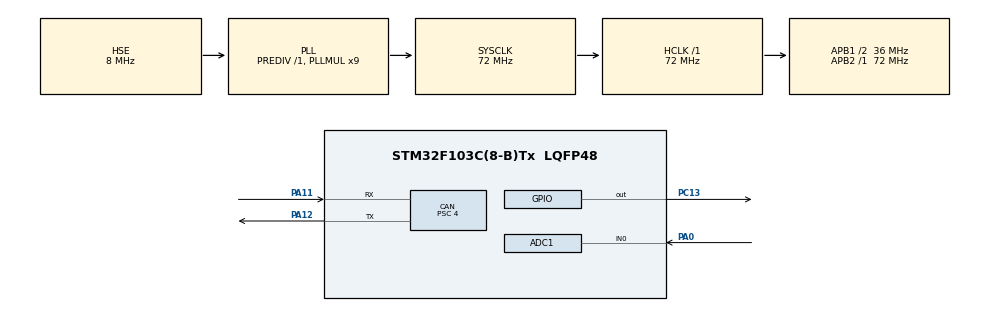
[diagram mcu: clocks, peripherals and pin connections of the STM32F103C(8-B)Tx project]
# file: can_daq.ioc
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Mcu.Family=STM32F1
RCC.PLLSourceVirtual=RCC_PLLSOURCE_HSE
NVIC.CAN1_RX1_IRQn=true\:0\:0\:false\:false\:true\:true\:true
ADC1.Rank-0\#ChannelRegularConversion=1
PD1-OSC_OUT.Mode=HSE-External-Oscillator
ADC1.ContinuousConvMode=ENABLE
PC13-TAMPER-RTC.Signal=GPIO_Output
PA11.Mode=Master
PD0-OSC_IN.Signal=RCC_OSC_IN
RCC.APB1CLKDivider=RCC_HCLK_DIV2
VP_SYS_VS_ND.Mode=No_Debug
CAN.CalculateTimeBit=2000
RCC.SYSCLKSource=RCC_SYSCLKSOURCE_PLLCLK
ProjectManager.StackSize=0x400
PA0-WKUP.Signal=ADCx_IN0
PD1-OSC_OUT.Signal=RCC_OSC_OUT
RCC.ADCPresc=RCC_ADCPCLK2_DIV6
PA12.Signal=CAN_TX
CAN.BS2=CAN_BS2_2TQ
CAN.Prescaler=4
CAN.BS1=CAN_BS1_15TQ
ProjectManager.TargetToolchain=MDK-ARM V5.27
RCC.HCLKFreq_Value=72000000
RCC.APB2TimFreq_Value=72000000
TIM3.Period=5
RCC.USBFreq_Value=72000000
RCC.AHBFreq_Value=72000000
PD0-OSC_IN.Mode=HSE-External-Oscillator
ADC1.Channel-0\#ChannelRegularConversion=ADC_CHANNEL_0
board=custom
RCC.PLLMUL=RCC_PLL_MUL9
RCC.APB2Freq_Value=72000000
TIM3.Prescaler=16000
SH.ADCx_IN0.0=ADC1_IN0,IN0
Mcu.Name=STM32F103C(8-B)Tx
CAN.CalculateTimeQuantum=111.11111111111111
ADC1.SamplingTime-0\#ChannelRegularConversion=ADC_SAMPLETIME_1CYCLE_5
ADC1.ExternalTrigConv=ADC_EXTERNALTRIGCONV_T3_TRGO
RCC.SYSCLKFreq_VALUE=72000000
Mcu.Package=LQFP48
ADC1.master=1
PA12.Mode=Master
PA11.Signal=CAN_RX
ProjectManager.HeapSize=0x200
NVIC.PriorityGroup=NVIC_PRIORITYGROUP_4
ADC1.NbrOfConversionFlag=1
RCC.APB1TimFreq_Value=72000000
TIM3.TIM_MasterOutputTrigger=TIM_TRGO_UPDATE
RCC.APB1Freq_Value=36000000
VP_TIM3_VS_ClockSourceINT.Mode=Internal

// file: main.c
/* USER CODE BEGIN Header */
/**
  ******************************************************************************
  * @file           : main.c
  * @brief          : Main program body
  ******************************************************************************
  * @attention
  *
  * <h2><center>&copy; Copyright (c) 2020 STMicroelectronics.
  * All rights reserved.</center></h2>
  *
  * This software component is licensed by ST under BSD 3-Clause license,
  * the "License"; You may not use this file except in compliance with the
  * License. You may obtain a copy of the License at:
  *                        opensource.org/licenses/BSD-3-Clause
  *
  ******************************************************************************
  */
/* USER CODE END Header */

#include "main.h"

ADC_HandleTypeDef hadc1;

CAN_HandleTypeDef hcan;

TIM_HandleTypeDef htim3;

/* USER CODE BEGIN PV */
CAN_FilterTypeDef sFilterConfig;
CAN_RxHeaderTypeDef RxHeader;
CAN_TxHeaderTypeDef TxHeader;
uint32_t pTxMailbox;
uint8_t CAN_TxDATA[] = {0};
uint8_t CAN_RxDATA[8];
uint32_t Timeout = 5;
/* USER CODE END PV */

void SystemClock_Config(void);
static void MX_GPIO_Init(void);
static void MX_ADC1_Init(void);
static void MX_CAN_Init(void);
static void MX_TIM3_Init(void);
/* USER CODE BEGIN PFP */
void CAN_ConfigFilter(void);
/* USER CODE END PFP */

int main(void)
{

  /* MCU Configuration--------------------------------------------------------*/

  /* Reset of all peripherals, Initializes the Flash interface and the Systick. */
  HAL_Init();

  /* Configure the system clock */
  SystemClock_Config();

  /* Initialize all configured peripherals */
  MX_GPIO_Init();
  MX_ADC1_Init();
  MX_CAN_Init();
  MX_TIM3_Init();
  /* USER CODE BEGIN 2 */
  HAL_CAN_Start(&hcan);
  HAL_ADC_Start(&hadc1);
  HAL_TIM_Base_Start(&htim3);
  /* USER CODE END 2 */

  /* Infinite loop */
  /* USER CODE BEGIN WHILE */
  while (1)
  {
	  //ADC
	  if(HAL_ADC_PollForConversion(hadc1, Timeout) != HAL_OK){
		  Error_Handler();
	  }
	  CAN_TxDATA[0] = (HAL_ADC_GetValue(&hadc1))/16;

	  //CAN
	  if(HAL_CAN_ActivateNotification(&hcan, CAN_IT_RX_FIFO1_MSG_PENDING) != HAL_OK){
		  Error_Handler();
	  }
	  if(HAL_CAN_GetTxMailboxesFreeLevel(&hcan) > 0){
		  HAL_GPIO_TogglePin(GPIOC, GPIO_PIN_13);
		  HAL_CAN_AddTxMessage(&hcan, &TxHeader, CAN_TxDATA, &pTxMailbox);
	  }
	  while(HAL_CAN_IsTxMessagePending(&hcan, pTxMailbox));
	  if(HAL_CAN_DeactivateNotification(&hcan, CAN_IT_RX_FIFO1_MSG_PENDING) != HAL_OK){
		  Error_Handler();
	  }
    /* USER CODE END WHILE */

  }
}

void SystemClock_Config(void)
{
  RCC_OscInitTypeDef RCC_OscInitStruct = {0};
  RCC_ClkInitTypeDef RCC_ClkInitStruct = {0};
  RCC_PeriphCLKInitTypeDef PeriphClkInit = {0};

  /** Initializes the CPU, AHB and APB busses clocks
  */
  RCC_OscInitStruct.OscillatorType = RCC_OSCILLATORTYPE_HSE;
  RCC_OscInitStruct.HSEState = RCC_HSE_ON;
  RCC_OscInitStruct.HSEPredivValue = RCC_HSE_PREDIV_DIV1;
  RCC_OscInitStruct.HSIState = RCC_HSI_ON;
  RCC_OscInitStruct.PLL.PLLState = RCC_PLL_ON;
  RCC_OscInitStruct.PLL.PLLSource = RCC_PLLSOURCE_HSE;
  RCC_OscInitStruct.PLL.PLLMUL = RCC_PLL_MUL9;
  if (HAL_RCC_OscConfig(&RCC_OscInitStruct) != HAL_OK)
  {
    Error_Handler();
  }
  /** Initializes the CPU, AHB and APB busses clocks
  */
  RCC_ClkInitStruct.ClockType = RCC_CLOCKTYPE_HCLK|RCC_CLOCKTYPE_SYSCLK
                              |RCC_CLOCKTYPE_PCLK1|RCC_CLOCKTYPE_PCLK2;
  RCC_ClkInitStruct.SYSCLKSource = RCC_SYSCLKSOURCE_PLLCLK;
  RCC_ClkInitStruct.AHBCLKDivider = RCC_SYSCLK_DIV1;
  RCC_ClkInitStruct.APB1CLKDivider = RCC_HCLK_DIV2;
  RCC_ClkInitStruct.APB2CLKDivider = RCC_HCLK_DIV1;

  if (HAL_RCC_ClockConfig(&RCC_ClkInitStruct, FLASH_LATENCY_2) != HAL_OK)
  {
    Error_Handler();
  }
  PeriphClkInit.PeriphClockSelection = RCC_PERIPHCLK_ADC;
  PeriphClkInit.AdcClockSelection = RCC_ADCPCLK2_DIV6;
  if (HAL_RCCEx_PeriphCLKConfig(&PeriphClkInit) != HAL_OK)
  {
    Error_Handler();
  }
}

static void MX_ADC1_Init(void)
{

  ADC_ChannelConfTypeDef sConfig = {0};

  /** Common config
  */
  hadc1.Instance = ADC1;
  hadc1.Init.ScanConvMode = ADC_SCAN_DISABLE;
  hadc1.Init.ContinuousConvMode = ENABLE;
  hadc1.Init.DiscontinuousConvMode = DISABLE;
  hadc1.Init.ExternalTrigConv = ADC_EXTERNALTRIGCONV_T3_TRGO;
  hadc1.Init.DataAlign = ADC_DATAALIGN_RIGHT;
  hadc1.Init.NbrOfConversion = 1;
  if (HAL_ADC_Init(&hadc1) != HAL_OK)
  {
    Error_Handler();
  }
  /** Configure Regular Channel
  */
  sConfig.Channel = ADC_CHANNEL_0;
  sConfig.Rank = ADC_REGULAR_RANK_1;
  sConfig.SamplingTime = ADC_SAMPLETIME_1CYCLE_5;
  if (HAL_ADC_ConfigChannel(&hadc1, &sConfig) != HAL_OK)
  {
    Error_Handler();
  }

}

static void MX_CAN_Init(void)
{

  hcan.Instance = CAN1;
  hcan.Init.Prescaler = 4;
  hcan.Init.Mode = CAN_MODE_NORMAL;
  hcan.Init.SyncJumpWidth = CAN_SJW_1TQ;
  hcan.Init.TimeSeg1 = CAN_BS1_15TQ;
  hcan.Init.TimeSeg2 = CAN_BS2_2TQ;
  hcan.Init.TimeTriggeredMode = DISABLE;
  hcan.Init.AutoBusOff = DISABLE;
  hcan.Init.AutoWakeUp = DISABLE;
  hcan.Init.AutoRetransmission = DISABLE;
  hcan.Init.ReceiveFifoLocked = DISABLE;
  hcan.Init.TransmitFifoPriority = DISABLE;
  if (HAL_CAN_Init(&hcan) != HAL_OK)
  {
    Error_Handler();
  }
  /* USER CODE BEGIN CAN_Init 2 */
  TxHeader.DLC = 1;
  TxHeader.IDE = CAN_ID_EXT;
  TxHeader.ExtId = 0x124;
  TxHeader.RTR = CAN_RTR_DATA;
  /* USER CODE END CAN_Init 2 */

}

static void MX_TIM3_Init(void)
{

  TIM_ClockConfigTypeDef sClockSourceConfig = {0};
  TIM_MasterConfigTypeDef sMasterConfig = {0};

  htim3.Instance = TIM3;
  htim3.Init.Prescaler = 16000;
  htim3.Init.CounterMode = TIM_COUNTERMODE_UP;
  htim3.Init.Period = 5;
  htim3.Init.ClockDivision = TIM_CLOCKDIVISION_DIV1;
  htim3.Init.AutoReloadPreload = TIM_AUTORELOAD_PRELOAD_DISABLE;
  if (HAL_TIM_Base_Init(&htim3) != HAL_OK)
  {
    Error_Handler();
  }
  sClockSourceConfig.ClockSource = TIM_CLOCKSOURCE_INTERNAL;
  if (HAL_TIM_ConfigClockSource(&htim3, &sClockSourceConfig) != HAL_OK)
  {
    Error_Handler();
  }
  sMasterConfig.MasterOutputTrigger = TIM_TRGO_UPDATE;
  sMasterConfig.MasterSlaveMode = TIM_MASTERSLAVEMODE_DISABLE;
  if (HAL_TIMEx_MasterConfigSynchronization(&htim3, &sMasterConfig) != HAL_OK)
  {
    Error_Handler();
  }

}

static void MX_GPIO_Init(void)
{
  GPIO_InitTypeDef GPIO_InitStruct = {0};

  /* GPIO Ports Clock Enable */
  __HAL_RCC_GPIOC_CLK_ENABLE();
  __HAL_RCC_GPIOD_CLK_ENABLE();
  __HAL_RCC_GPIOA_CLK_ENABLE();

  /*Configure GPIO pin Output Level */
  HAL_GPIO_WritePin(GPIOC, GPIO_PIN_13, GPIO_PIN_RESET);

  /*Configure GPIO pin : PC13 */
  GPIO_InitStruct.Pin = GPIO_PIN_13;
  GPIO_InitStruct.Mode = GPIO_MODE_OUTPUT_PP;
  GPIO_InitStruct.Pull = GPIO_NOPULL;
  GPIO_InitStruct.Speed = GPIO_SPEED_FREQ_LOW;
  HAL_GPIO_Init(GPIOC, &GPIO_InitStruct);

}

/* USER CODE BEGIN 4 */
void CAN_ConfigFilter(void){
	sFilterConfig.FilterActivation = CAN_FILTER_ENABLE;
	sFilterConfig.FilterBank = 0;
	sFilterConfig.FilterFIFOAssignment = CAN_FILTER_FIFO1;
	sFilterConfig.FilterIdHigh = 0x0000;
	sFilterConfig.FilterIdLow = 0x0000;
	sFilterConfig.FilterMaskIdHigh = 0x0000;
	sFilterConfig.FilterMaskIdLow = 0x0000;
	sFilterConfig.FilterMode = CAN_FILTERMODE_IDMASK;
	sFilterConfig.FilterScale = CAN_FILTERSCALE_32BIT;

	if(HAL_CAN_ConfigFilter(hcan, sFilterConfig) != HAL_OK){
		Error_Handler();
	}
}

void HAL_CAN_RxFifo0MsgPendingCallback(CAN_HandleTypeDef *hcan)
{
  if(HAL_CAN_GetRxFifoFillLevel(hcan, CAN_RX_FIFO1)){
	  //HAL_GPIO_TogglePin(GPIOC, GPIO_PIN_13);
	  HAL_CAN_GetRxMessage(hcan, CAN_RX_FIFO1, &RxHeader, CAN_RxDATA);
  }
}
/* USER CODE END 4 */

void Error_Handler(void)
{
}

/************************ (C) COPYRIGHT STMicroelectronics *****END OF FILE****/
